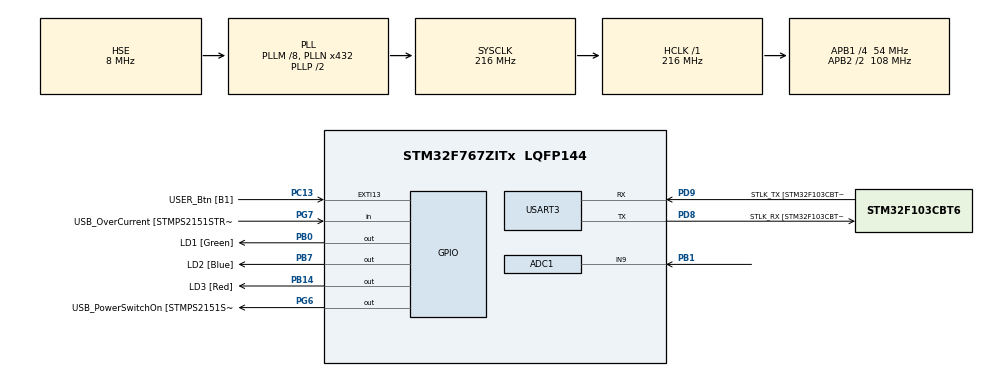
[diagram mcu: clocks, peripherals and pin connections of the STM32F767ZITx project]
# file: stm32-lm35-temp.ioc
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ADC1.Channel-1\#ChannelRegularConversion=ADC_CHANNEL_9
ADC1.NbrOfConversionFlag=1
ADC1.Rank-1\#ChannelRegularConversion=1
ADC1.SamplingTime-1\#ChannelRegularConversion=ADC_SAMPLETIME_3CYCLES
ADC1.master=1
Mcu.Family=STM32F7
Mcu.Name=STM32F767ZITx
Mcu.Package=LQFP144
NVIC.PriorityGroup=NVIC_PRIORITYGROUP_4
PA1.GPIO_Label=RMII_REF_CLK [LAN8742A-CZ-TR_REFCLK0]
PA1.Signal=ETH_REF_CLK
PA10.GPIO_Label=USB_ID
PA10.Signal=USB_OTG_FS_ID
PA11.GPIO_Label=USB_DM
PA11.Signal=USB_OTG_FS_DM
PA12.GPIO_Label=USB_DP
PA12.Signal=USB_OTG_FS_DP
PA13.GPIO_Label=TMS
PA13.Mode=Serial_Wire
PA13.Signal=SYS_JTMS-SWDIO
PA14.GPIO_Label=TCK
PA14.Mode=Serial_Wire
PA14.Signal=SYS_JTCK-SWCLK
PA2.GPIO_Label=RMII_MDIO [LAN8742A-CZ-TR_MDIO]
PA2.Signal=ETH_MDIO
PA7.GPIO_Label=RMII_CRS_DV [LAN8742A-CZ-TR_CRS_DV]
PA7.Signal=ETH_CRS_DV
PA8.GPIO_Label=USB_SOF [TP1]
PA8.Signal=USB_OTG_FS_SOF
PA9.GPIO_Label=USB_VBUS
PA9.Signal=USB_OTG_FS_VBUS
PB0.GPIO_Label=LD1 [Green]
PB0.Signal=GPIO_Output
PB1.Signal=ADCx_IN9
PB13.GPIO_Label=RMII_TXD1 [LAN8742A-CZ-TR_TXD1]
PB13.Signal=ETH_TXD1
PB14.GPIO_Label=LD3 [Red]
PB14.Signal=GPIO_Output
PB3.GPIO_Label=SWO
PB3.Signal=SYS_JTDO-SWO
PB7.GPIO_Label=LD2 [Blue]
PB7.Signal=GPIO_Output
PC1.GPIO_Label=RMII_MDC [LAN8742A-CZ-TR_MDC]
PC1.Signal=ETH_MDC
PC13.GPIO_Label=USER_Btn [B1]
PC13.Signal=GPXTI13
PC14/OSC32_IN.Mode=LSE-External-Oscillator
PC14/OSC32_IN.Signal=RCC_OSC32_IN
PC15/OSC32_OUT.Mode=LSE-External-Oscillator
PC15/OSC32_OUT.Signal=RCC_OSC32_OUT
PC4.GPIO_Label=RMII_RXD0 [LAN8742A-CZ-TR_RXD0]
PC4.Signal=ETH_RXD0
PC5.GPIO_Label=RMII_RXD1 [LAN8742A-CZ-TR_RXD1]
PC5.Signal=ETH_RXD1
PD8.GPIO_Label=STLK_RX [STM32F103CBT6_PA3]
PD8.Mode=Asynchronous
PD8.Signal=USART3_TX
PD9.GPIO_Label=STLK_TX [STM32F103CBT6_PA2]
PD9.Mode=Asynchronous
PD9.Signal=USART3_RX
PG11.GPIO_Label=RMII_TX_EN [LAN8742A-CZ-TR_TXEN]
PG11.Signal=ETH_TX_EN
PG13.GPIO_Label=RMII_TXD0 [LAN8742A-CZ-TR_TXD0]
PG13.Signal=ETH_TXD0
PG6.GPIO_Label=USB_PowerSwitchOn [STMPS2151STR_EN]
PG6.Signal=GPIO_Output
PG7.GPIO_Label=USB_OverCurrent [STMPS2151STR_FAULT]
PG7.Signal=GPIO_Input
PH0/OSC_IN.GPIO_Label=MCO [STM32F103CBT6_PA8]
PH0/OSC_IN.Mode=HSE-External-Clock-Source
PH0/OSC_IN.Signal=RCC_OSC_IN
PH1/OSC_OUT.Mode=HSE-External-Clock-Source
PH1/OSC_OUT.Signal=RCC_OSC_OUT
ProjectManager.HeapSize=0x200
ProjectManager.StackSize=0x400
ProjectManager.TargetToolchain=STM32CubeIDE
RCC.48MHZClocksFreq_Value=24000000
RCC.AHBFreq_Value=216000000
RCC.APB1CLKDivider=RCC_HCLK_DIV4
RCC.APB1Freq_Value=54000000
RCC.APB1TimFreq_Value=108000000
RCC.APB2CLKDivider=RCC_HCLK_DIV2
RCC.APB2Freq_Value=108000000
RCC.APB2TimFreq_Value=216000000
RCC.CortexFreq_Value=216000000
RCC.HCLKFreq_Value=216000000
RCC.HSE_VALUE=8000000
RCC.HSI_VALUE=16000000
RCC.PLLM=8
RCC.PLLMUL=RCC_PLL_MUL9
RCC.PLLN=432
RCC.PLLQ=4
RCC.PLLSourceVirtual=RCC_PLLSOURCE_HSE
RCC.PRESCALERUSB=RCC_USBCLKSOURCE_PLL_DIV1_5
RCC.SYSCLKFreq_VALUE=216000000
RCC.SYSCLKSource=RCC_SYSCLKSOURCE_PLLCLK
RCC.SYSCLKSourceVirtual=RCC_SYSCLKSOURCE_PLLCLK
RCC.USBFreq_Value=108000000
RCC.VCOOutputFreq_Value=432000000
SH.ADCx_IN9.0=ADC1_IN9,IN9
USART3.VirtualMode-Asynchronous=VM_ASYNC
board=NUCLEO-F767ZI

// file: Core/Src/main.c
/* USER CODE BEGIN Header */
/**
  ******************************************************************************
  * @file           : main.c
  * @brief          : Main program body
  ******************************************************************************
  * @attention
  *
  * Copyright (c) 2023 STMicroelectronics.
  * All rights reserved.
  *
  * This software is licensed under terms that can be found in the LICENSE file
  * in the root directory of this software component.
  * If no LICENSE file comes with this software, it is provided AS-IS.
  *
  ******************************************************************************
  */
/* USER CODE END Header */
#include "main.h"
#include "adc.h"
#include "usart.h"
#include "gpio.h"

/* USER CODE BEGIN Includes */
#include <stdio.h> // printf(3)
#include <stdbool.h>
/* USER CODE END Includes */

/* USER CODE BEGIN PTD */
typedef uint16_t t_adc_sample;
/* USER CODE END PTD */

/* USER CODE BEGIN PD */
struct s_adc_stats {
	t_adc_sample minVal;
	t_adc_sample maxVal;
	t_adc_sample lastVal;
	t_adc_sample avgVal;
	int n; // number of processed samples
};
#define APP_ADC_STATS_INIT {0,0,0,0,0}
/* USER CODE END PD */

/* USER CODE BEGIN PM */
#define APP_VERSION 102 // 123 = 1.23
#define APP_ADC_VREF_PLUS_FP 3300.0 // 3300 mV for 4095 value from ADC
#define APP_ADC_RANGE 4096
/* USER CODE END PM */

/* USER CODE BEGIN PV */
unsigned int gCounter=0; // g as "global"
bool gUartStarted=false; // if Error_Handler() can use USART3 to report error
// remember that STM32F7 has hardware FPU! - so no reason to use only integers!
double gAdcMiliV=0;
struct s_adc_stats gAdcStats = APP_ADC_STATS_INIT;
/* USER CODE END PV */

void SystemClock_Config(void);
/* USER CODE BEGIN PFP */
// redirecting printf(3) to USART3, from
// c:\Ac6\STM32Cube_FW_F7_V1.17.0\Projects\STM32F767ZI-Nucleo\Examples\UART\UART_Printf\Src\main.c
#ifdef __GNUC__
/* With GCC, small printf (option LD Linker->Libraries->Small printf
   set to 'Yes') calls __io_putchar() */
#define PUTCHAR_PROTOTYPE int __io_putchar(int ch)
#else
#define PUTCHAR_PROTOTYPE int fputc(int ch, FILE *f)
#endif /* __GNUC__ */
/* USER CODE END PFP */

/* USER CODE BEGIN 0 */

// returns single 12-bit sample (0 to 4095: equivalent of 0V to 3.3V) from ADC1 PB1/IN9 (CN10 PIN7)
t_adc_sample GetSingleAdcSample(void)
{
	  /* Start the conversion process */
	  if (HAL_ADC_Start(&hadc1) != HAL_OK)
	  {
	    /* Start Conversation Error */
		printf("ERROR: L%d: HAL_ADC_Start() failed.\r\n", __LINE__);
		Error_Handler();
	  }
	  /*  For simplicity reasons, this example is just waiting till the end of the
	      conversion, but application may perform other tasks while conversion
	      operation is ongoing. */
	  if (HAL_ADC_PollForConversion(&hadc1, 10) != HAL_OK){
	    /* End Of Conversion flag not set on time */
		printf("ERROR: L%d: HAL_ADC_PollForConversion() failed.\r\n", __LINE__);
	    Error_Handler();
	  }
	  /* ADC conversion completed */
	  return HAL_ADC_GetValue(&hadc1);
}

// we must average several samples because ADC output is impacted by significant
// noise from Flash and other circuits:
// - es0334-stm32f76xxx-and-stm32f77xxx-device-errata-stmicroelectronics.pdf
// - an4073-how-to-improve-adc-accuracy-when-using-stm32f2xx-and-stm32f4xx-microcontrollers-stmicroelectronics.pdf
struct s_adc_stats GetAveragedAdcSamples(int n)
{
	int i;
	uint32_t adcSum=0; // must use 32-bit type for n > 16 to avoid overflow!!!
	struct s_adc_stats s = APP_ADC_STATS_INIT;

	if (n<0 || n>=65535){
		printf("ERROR: L%d Specified number of samples n=%d out of allowed range!\r\n",
			__LINE__, n);
		Error_Handler();
	}
	s.n = n;
	for(i=0;i<n;i++){
		s.lastVal = GetSingleAdcSample();
		if (i==0){
			s.minVal = s.lastVal;
			s.maxVal = s.lastVal;
		} else {
			if (s.minVal > s.lastVal) s.minVal = s.lastVal;
			if (s.maxVal < s.lastVal) s.maxVal = s.lastVal;
		}
		adcSum += s.lastVal;
	}
	s.avgVal = adcSum/n;
	return s;
}

/* USER CODE END 0 */

int main(void)
{

  /* MCU Configuration--------------------------------------------------------*/

  /* Reset of all peripherals, Initializes the Flash interface and the Systick. */
  HAL_Init();

  /* Configure the system clock */
  SystemClock_Config();

  /* Initialize all configured peripherals */
  MX_GPIO_Init();
  MX_USART3_UART_Init();
  MX_ADC1_Init();
  /* USER CODE BEGIN 2 */
  gUartStarted=true; // tell Error_Handler() that it can print fatal error to USART3
  printf("L%d: App v%d.%02d\r\n", __LINE__, APP_VERSION/100, APP_VERSION%100);
  /* USER CODE END 2 */

  /* Infinite loop */
  while (1)
  {

    /* USER CODE BEGIN 3 */
	  gCounter++;
	  // read ADC1, on PA0/AN0
	  // we must average data to workaround ADC noise errata:
	  // see: es0334-stm32f76xxx-and-stm32f77xxx-device-errata-stmicroelectronics.pdf
	  // - section 2.2.1 Internal noise impacting the ADC accuracy
	  // and whole: an4073-how-to-improve-adc-accuracy-when-using-stm32f2xx-and-stm32f4xx-microcontrollers-stmicroelectronics.pdf
	  gAdcStats = GetAveragedAdcSamples(32);
	  printf("L%d: ADC Stats: last=%u avg=%u min=%u max=%u range=%d n=%d\r\n",
			  __LINE__,gAdcStats.lastVal, gAdcStats.avgVal, gAdcStats.minVal, gAdcStats.maxVal,
			  (int)gAdcStats.maxVal-(int)gAdcStats.minVal,gAdcStats.n);
	  // ADC Value is 12 bit (4096 values) 0=0V, 4095=3.3V (Vdd) on PB1/IN9
	  gAdcMiliV = gAdcStats.avgVal * APP_ADC_VREF_PLUS_FP / (APP_ADC_RANGE-1);
	  printf("L%d: #%u ADC AVG(%d) T=%.2f [^C] U=%.2f [mV] raw=%u (0x%x)\r\n",
			  __LINE__, gCounter, gAdcStats.n, gAdcMiliV/10.0, gAdcMiliV, gAdcStats.avgVal, gAdcStats.avgVal);
	  HAL_Delay(1000); // pause for 1s
	  HAL_GPIO_TogglePin(LD1_GPIO_Port, LD1_Pin);
  }
  /* USER CODE END 3 */
}

void SystemClock_Config(void)
{
  RCC_OscInitTypeDef RCC_OscInitStruct = {0};
  RCC_ClkInitTypeDef RCC_ClkInitStruct = {0};

  /** Configure LSE Drive Capability
  */
  HAL_PWR_EnableBkUpAccess();

  /** Configure the main internal regulator output voltage
  */
  __HAL_RCC_PWR_CLK_ENABLE();
  __HAL_PWR_VOLTAGESCALING_CONFIG(PWR_REGULATOR_VOLTAGE_SCALE1);

  /** Initializes the RCC Oscillators according to the specified parameters
  * in the RCC_OscInitTypeDef structure.
  */
  RCC_OscInitStruct.OscillatorType = RCC_OSCILLATORTYPE_HSE;
  RCC_OscInitStruct.HSEState = RCC_HSE_BYPASS;
  RCC_OscInitStruct.PLL.PLLState = RCC_PLL_ON;
  RCC_OscInitStruct.PLL.PLLSource = RCC_PLLSOURCE_HSE;
  RCC_OscInitStruct.PLL.PLLM = 8;
  RCC_OscInitStruct.PLL.PLLN = 432;
  RCC_OscInitStruct.PLL.PLLP = RCC_PLLP_DIV2;
  RCC_OscInitStruct.PLL.PLLQ = 4;
  RCC_OscInitStruct.PLL.PLLR = 2;
  if (HAL_RCC_OscConfig(&RCC_OscInitStruct) != HAL_OK)
  {
    Error_Handler();
  }

  /** Activate the Over-Drive mode
  */
  if (HAL_PWREx_EnableOverDrive() != HAL_OK)
  {
    Error_Handler();
  }

  /** Initializes the CPU, AHB and APB buses clocks
  */
  RCC_ClkInitStruct.ClockType = RCC_CLOCKTYPE_HCLK|RCC_CLOCKTYPE_SYSCLK
                              |RCC_CLOCKTYPE_PCLK1|RCC_CLOCKTYPE_PCLK2;
  RCC_ClkInitStruct.SYSCLKSource = RCC_SYSCLKSOURCE_PLLCLK;
  RCC_ClkInitStruct.AHBCLKDivider = RCC_SYSCLK_DIV1;
  RCC_ClkInitStruct.APB1CLKDivider = RCC_HCLK_DIV4;
  RCC_ClkInitStruct.APB2CLKDivider = RCC_HCLK_DIV2;

  if (HAL_RCC_ClockConfig(&RCC_ClkInitStruct, FLASH_LATENCY_7) != HAL_OK)
  {
    Error_Handler();
  }
}

/* USER CODE BEGIN 4 */
// redirecting printf(3) to USART3, from
// c:\Ac6\STM32Cube_FW_F7_V1.17.0\Projects\STM32F767ZI-Nucleo\Examples\UART\UART_Printf\Src\main.c
/**
  * @brief  Retargets the C library printf function to the USART.
  * @param  None
  * @retval None
  */
PUTCHAR_PROTOTYPE
{
  /* Place your implementation of fputc here */
  /* e.g. write a character to the USART3 and Loop until the end of transmission */
  HAL_UART_Transmit(&huart3, (uint8_t *)&ch, 1, 0xFFFF);

  return ch;
}
/* USER CODE END 4 */

void Error_Handler(void)
{
  /* USER CODE BEGIN Error_Handler_Debug */
  // red LED LD3 On forever ...
  HAL_GPIO_WritePin(LD3_GPIO_Port, LD3_Pin, GPIO_PIN_SET);
  if (gUartStarted){
	  printf("ERROR: L%d: SYSTEM HALTED due fatal error!\r\n", __LINE__);
  }
  /* User can add his own implementation to report the HAL error return state */
  __disable_irq();
  while (1)
  {
  }
  /* USER CODE END Error_Handler_Debug */
}
